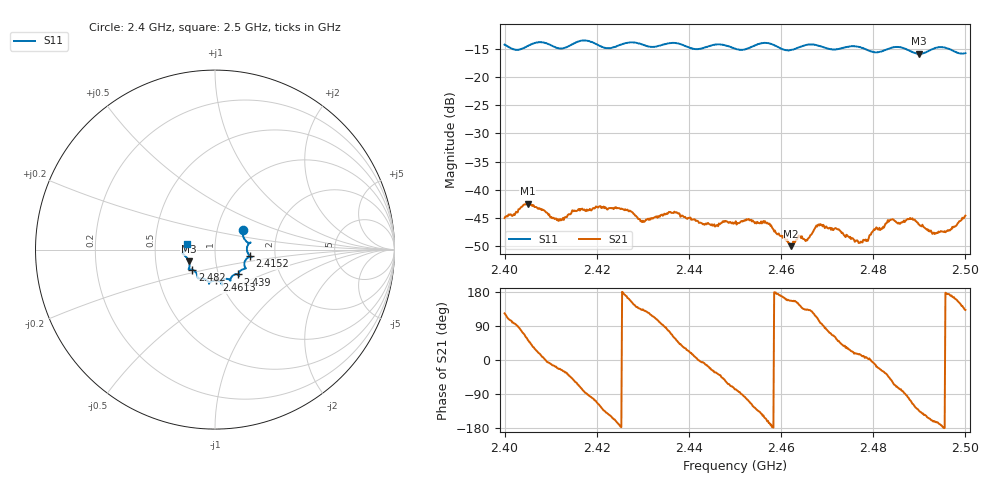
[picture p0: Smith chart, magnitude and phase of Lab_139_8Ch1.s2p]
# Hz S RI R 50
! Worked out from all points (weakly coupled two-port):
!   601 points, 2.4 GHz to 2.5 GHz, reference 50 ohm
!   highest |S21| = -42.45 dB at 2.405 GHz (marker M1); lowest = -49.9 dB at 2.4622 GHz (marker M2)
!   lowest |S11| = -15.9 dB at 2.4898 GHz (marker M3), VSWR 1.38, Z = 37 - j5.03 ohm
!   |S11| at or under -10 dB: start of sweep to end of sweep
!   S12 and S22 are empty: the file has one direction only
!   S11 on the Smith chart (normalised r, x): 2.4 GHz: 1.33, +0.31; 2.4152 GHz: 1.48, -0.11; 2.439 GHz: 1.24, -0.36; 2.4613 GHz: 0.96, -0.34; 2.482 GHz: 0.76, -0.17; 2.5 GHz: 0.73, +0.05
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2.4e9  0.1568 0.1116  -0.00308 0.00472  0 0  0 0
2.405e9  0.1828 0.0396  0.00448 0.00607  0 0  0 0
2.411833e9  0.1779 0.00856  0.00503 -0.00224  0 0  0 0
2.415167e9  0.195 -0.0368  0.00373 -0.00541  0 0  0 0
2.416667e9  0.2043 -0.0426  0.00177 -0.0065  0 0  0 0
2.4245e9  0.1642 -0.0911  -0.00671 -0.00166  0 0  0 0
2.43e9  0.1586 -0.1086  -0.00369 0.00388  0 0  0 0
2.433333e9  0.1321 -0.1324  -0.00142 0.00569  0 0  0 0
2.439e9  0.1281 -0.1386  0.00489 0.00302  0 0  0 0
2.445333e9  0.0846 -0.1717  0.00427 -0.00231  0 0  0 0
2.45e9  0.069 -0.1633  0.00109 -0.00498  0 0  0 0
2.456667e9  0.0396 -0.1954  -0.00465 -0.00221  0 0  0 0
2.461333e9  0.00747 -0.171  -0.00337 0.00139  0 0  0 0
2.462167e9  -0.00484 -0.1723  -0.00292 0.00126  0 0  0 0
2.466667e9  -0.0334 -0.1903  -0.00253 0.0032  0 0  0 0
2.468667e9  -0.0348 -0.1821  -0.00058 0.0049  0 0  0 0
2.477167e9  -0.0961 -0.1553  0.0033 0.000839  0 0  0 0
2.482e9  -0.1262 -0.1117  0.00397 -0.00222  0 0  0 0
2.483333e9  -0.1393 -0.1097  0.00371 -0.00369  0 0  0 0
2.489833e9  -0.1452 -0.0662  -0.00334 -0.00368  0 0  0 0
2.493333e9  -0.1771 -0.0261  -0.0039 -0.00119  0 0  0 0
2.5e9  -0.1584 0.0328  -0.00397 0.0044  0 0  0 0
